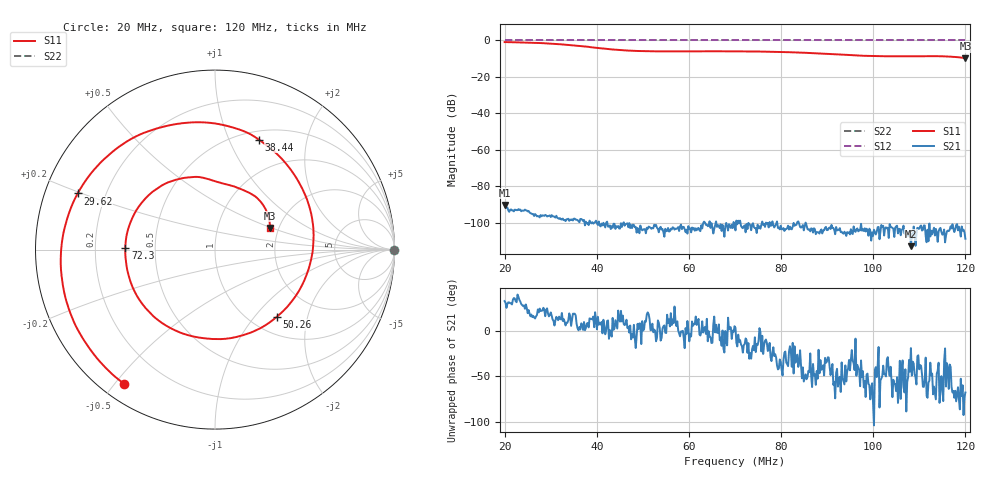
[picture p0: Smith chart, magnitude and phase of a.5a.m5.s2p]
! Anritsu VNA Master:  Model: MS2036C/10/77
! SN:  1601066
! /bd0/18may8/255.ew.m5.s2p
! Existing Calibration Information:
! TYPE:  Current Settings,  Active Cal Settings
! TIME:  05/08/2018 10:09:38 AM,  05/08/2018 09:57:41 AM
! INTERNAL TEMP:  47.0 C,  46.8 C
! # POINTS:  500,  500
! START FREQ:  20.000 MHz,  20.000 MHz
! STOP FREQ:  120.000 MHz,  120.000 MHz
! SOURCE POWER:  High,  High
! IFBW:  50 Hz,  50 Hz
! AVG FACTOR:  1 ,  1
! REF PLANE 1:  0 mm,  0 mm
! REF PLANE 2:  0 mm,  0 mm
! CAL TYPE:  Full S11,  Full S11
! CAL METHOD:  SOLT,  SOLT
! CAL LINE TYPE:  Coax,  Coax
! DUT PORT 1:  K-Conn(F),  K-Conn(F)
! DUT PORT 2:  K-Conn(F),  K-Conn(F)
! CAL STATUS:  OK: Accuracy High,  --
# GHZ S DB R 50.0
! FREQ.GHZ  S11DB  S11A  S21DB  S21A  S12DB  S12A  S22DB  S22A
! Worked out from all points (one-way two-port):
!   500 points, 20 MHz to 120 MHz, reference 50 ohm
!   highest |S21| = -90.10 dB at 20 MHz (marker M1); lowest = -112.7 dB at 108.2 MHz (marker M2)
!   lowest |S11| = -9.7 dB at 120 MHz (marker M3), VSWR 1.98, Z = 89.8 + j24.1 ohm
!   |S11| at or under -10 dB: nowhere
!   |S22| runs from 0.0 to 0.0 dB; largest |S21 - S12| = 1
!   S11 on the Smith chart (normalised r, x): 20 MHz: 0.07, -0.53; 29.62 MHz: 0.10, +0.19; 38.44 MHz: 0.60, +1.29; 50.26 MHz: 1.29, -1.31; 72.3 MHz: 0.33, +0.01; 120 MHz: 1.80, +0.48
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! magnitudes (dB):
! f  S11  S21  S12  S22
! 20 MHz  -0.9  -90.1  0.0  0.0
! 25.21 MHz  -1.2  -93.4  0.0  0.0
! 29.62 MHz  -1.7  -96.0  0.0  0.0
! 32.83 MHz  -2.2  -98.4  0.0  0.0
! 36.83 MHz  -3.2  -98.2  0.0  0.0
! 38.44 MHz  -3.6  -98.7  0.0  0.0
! 41.44 MHz  -4.5  -99.9  0.0  0.0
! 44.65 MHz  -5.2  -101.7  0.0  0.0
! 47.05 MHz  -5.6  -100.1  0.0  0.0
! 50.26 MHz  -5.9  -103.3  0.0  0.0
! 53.47 MHz  -6.0  -105.1  0.0  0.0
! 64.89 MHz  -5.9  -100.1  0.0  0.0
! 70.1 MHz  -6.0  -104.1  0.0  0.0
! 72.3 MHz  -6.0  -105.1  0.0  0.0
! 78.52 MHz  -6.2  -102.5  0.0  0.0
! 86.73 MHz  -6.9  -103.2  0.0  0.0
! 97.76 MHz  -8.4  -103.4  0.0  0.0
! 103.4 MHz  -8.7  -108.2  0.0  0.0
! 108.2 MHz  -8.7  -112.7  0.0  0.0
! 114.8 MHz  -8.7  -104.9  0.0  0.0
! 117.6 MHz  -9.0  -105.0  0.0  0.0
! 120 MHz  -9.7  -108.7  0.0  0.0
